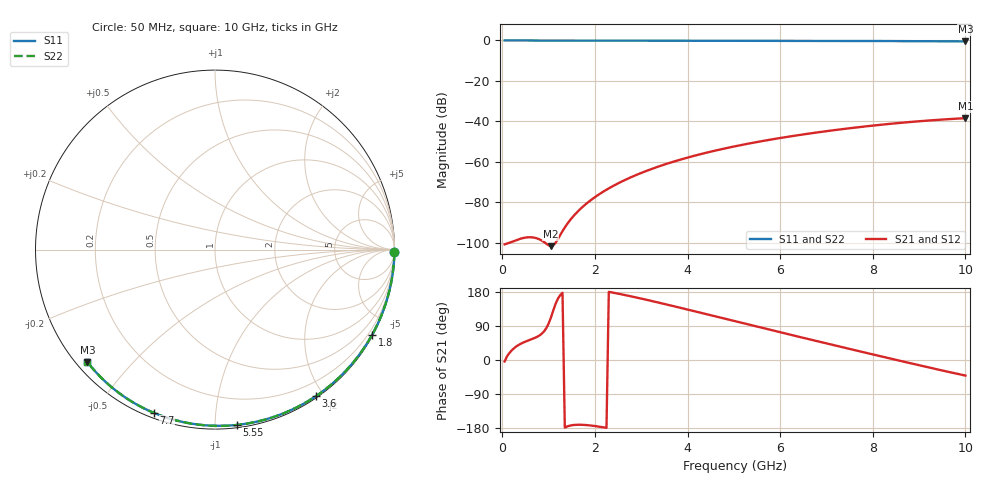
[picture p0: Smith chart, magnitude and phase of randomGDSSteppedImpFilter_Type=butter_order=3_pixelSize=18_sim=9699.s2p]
! freq	dB(S11)	phase(S11)	dB(S12)	phase(S12)
!  dB(S21)	phase(S21)	dB(S22)	phase(S22)
!S-par simulation data
#  GHz  S  DB  R 50
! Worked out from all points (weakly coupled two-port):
!   200 points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, 50 MHz to 10 GHz, reference 50 ohm
!   highest |S21| = -38.41 dB at 10 GHz (marker M1); lowest = -101.7 dB at 1.05 GHz (marker M2)
!   lowest |S11| = -0.5 dB at 10 GHz (marker M3), VSWR 37.22, Z = 1.54 - j18.9 ohm
!   |S11| at or under -10 dB: nowhere
!   |S22| runs from -0.5 to 0.0 dB; largest |S21 - S12| = 0
!   S11 on the Smith chart (normalised r, x): 50 MHz: open; 1.8 GHz: 0.03, -3.95; 3.6 GHz: 0.02, -1.90; 5.55 GHz: 0.02, -1.13; 7.7 GHz: 0.02, -0.69; 10 GHz: 0.03, -0.38
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0.05  -0.00 -0.8  -100.80 -3.9  -100.80 -3.9  -0.00 -0.8
0.55  -0.01 -8.8  -97.32 51.0  -97.32 51.0  -0.01 -8.8
1.05  -0.02 -16.7  -101.69 112.0  -101.69 112.0  -0.02 -16.7
1.75  -0.04 -27.7  -81.94 -171.2  -81.94 -171.2  -0.04 -27.7
1.8  -0.04 -28.4  -80.96 -171.6  -80.96 -171.6  -0.04 -28.4
1.85  -0.04 -29.2  -80.02 -172.1  -80.02 -172.1  -0.04 -29.2
2  -0.04 -31.5  -77.45 -174.2  -77.45 -174.2  -0.04 -31.5
2.15  -0.04 -33.8  -75.16 -177.0  -75.16 -177.0  -0.04 -33.8
2.35  -0.05 -36.9  -72.46 178.7  -72.46 178.7  -0.05 -36.9
2.55  -0.05 -39.9  -70.06 173.9  -70.06 173.9  -0.05 -39.9
2.95  -0.06 -45.9  -65.95 163.4  -65.95 163.4  -0.06 -45.9
3.4  -0.07 -52.6  -62.11 150.8  -62.11 150.8  -0.07 -52.6
3.6  -0.07 -55.5  -60.61 145.0  -60.61 145.0  -0.07 -55.5
4.3  -0.09 -65.6  -56.09 124.2  -56.09 124.2  -0.09 -65.6
5.05  -0.12 -76.0  -52.20 101.7  -52.20 101.7  -0.12 -76.0
5.55  -0.14 -82.8  -50.00 86.7  -50.00 86.7  -0.14 -82.8
6.1  -0.16 -90.1  -47.85 70.3  -47.85 70.3  -0.16 -90.1
6.7  -0.19 -97.9  -45.78 52.6  -45.78 52.6  -0.19 -97.9
7.7  -0.25 -110.6  -42.85 23.4  -42.85 23.4  -0.25 -110.6
8.35  -0.30 -118.6  -41.27 4.7  -41.27 4.7  -0.30 -118.6
9.2  -0.38 -128.9  -39.58 -19.4  -39.58 -19.4  -0.38 -128.9
10  -0.47 -138.6  -38.41 -41.1  -38.41 -41.1  -0.47 -138.6
